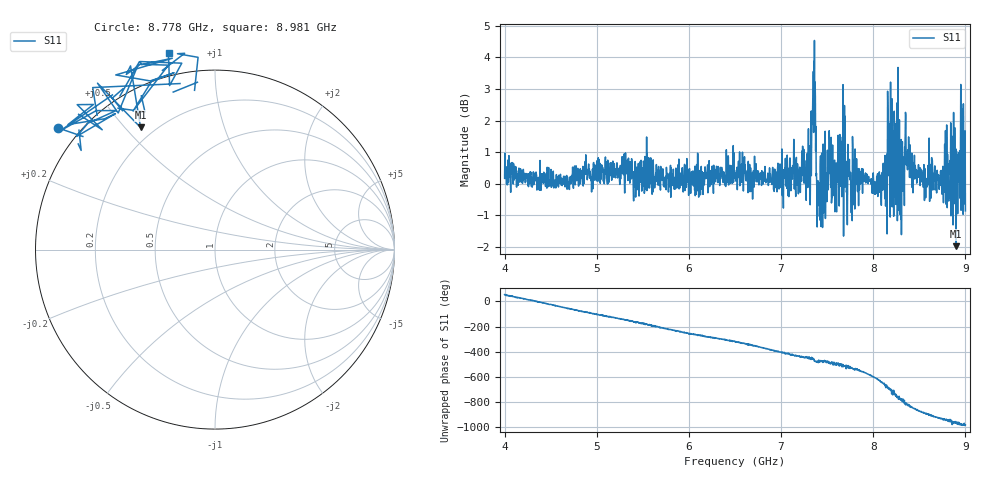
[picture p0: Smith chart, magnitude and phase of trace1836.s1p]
! Created with skrf 1.8.0 (http://scikit-rf.org).
# Hz S RI R 50.0
!freq ReS11 ImS11
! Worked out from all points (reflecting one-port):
!   1601 points, 4 GHz to 9 GHz, reference 50 ohm
!   lowest |S11| = -2.0 dB at 8.9 GHz (marker M1), VSWR 8.84, Z = 7.41 + j27.6 ohm
!   phase of S11 starts at 53 deg and turns -1035 deg over the sweep
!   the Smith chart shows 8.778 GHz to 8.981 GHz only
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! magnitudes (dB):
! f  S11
! 4 GHz  0.2
! 4.625 GHz  -0.1
! 5.25 GHz  0.0
! 5.875 GHz  0.2
! 6.5 GHz  0.2
! 7.125 GHz  0.6
! 7.294 GHz  0.8
! 7.347 GHz  2.4
! 7.359 GHz  2.5
! 7.397 GHz  0.0
! 7.412 GHz  0.0
! 7.519 GHz  0.4
! 7.588 GHz  0.5
! 7.669 GHz  0.5
! 7.75 GHz  0.2
! 8.066 GHz  0.4
! 8.128 GHz  0.9
! 8.178 GHz  1.4
! 8.197 GHz  0.3
! 8.253 GHz  0.2
! 8.312 GHz  1.0
! 8.334 GHz  0.7
! 8.375 GHz  0.9
! 8.419 GHz  1.0
! 8.566 GHz  0.1
! 8.9 GHz  -2.0
! 8.972 GHz  0.6
! 9 GHz  -0.9
